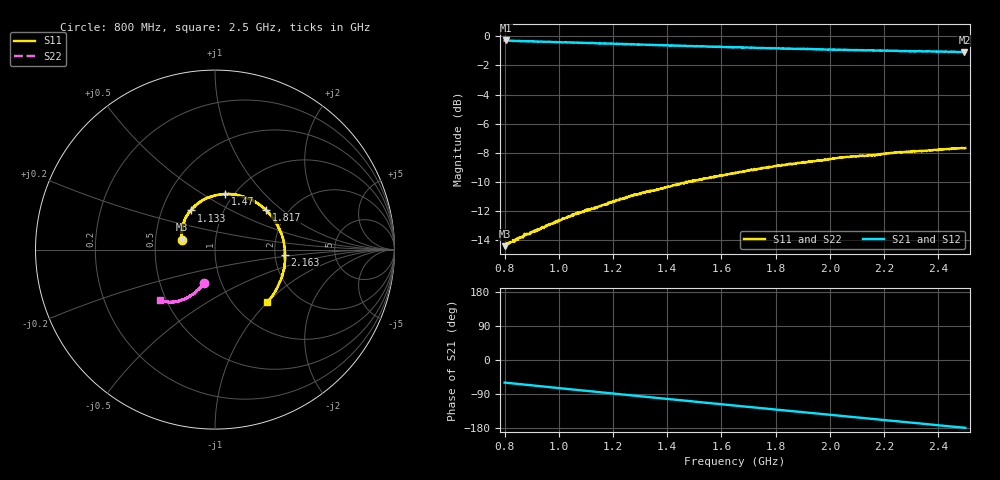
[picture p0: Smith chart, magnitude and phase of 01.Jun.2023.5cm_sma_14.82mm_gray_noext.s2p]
!Keysight Technologies N9950B: A.12.38
!Date: Thursday, 01 June 2023 12:08:57
!Timezone: (UTC-06:00) Central Time (US & Canada)
!Model: N9950B
!Serial: MY61131330
!GPS Latitude:
!GPS Longitude:
!GPS TimeStamp: 0001-01-01 00:00:00Z
!GPS Seconds Since Last Read: 0
!CHECKSUM:1986727721
!Correction: S11(ON U)S21(ON U)S12(ON U)S22(ON U)
!S2P File: Measurements:S11,S21,S12,S22:
# Hz S DB R 50
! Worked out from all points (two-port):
!   1001 points, 800 MHz to 2.5 GHz, reference 50 ohm
!   highest |S21| = -0.28 dB at 805.1 MHz (marker M1); lowest = -1.1 dB at 2.497 GHz (marker M2)
!   |S21| within 3 dB of the highest: start of sweep to end of sweep
!   lowest |S11| = -14.4 dB at 801.7 MHz (marker M3), VSWR 1.47, Z = 34.4 + j3.9 ohm
!   |S11| at or under -10 dB: start of sweep to 1.469 GHz; 1.47 GHz to 1.479 GHz (8.488 MHz wide, 0.576 % of centre); 1.486657 GHz to 1.490405 GHz (3.748 MHz wide, 0.252 % of centre)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
!   |S22| runs from -14.3 to -7.6 dB; largest |S21 - S12| = 0.0052
!   S11 on the Smith chart (normalised r, x): 800 MHz: 0.69, +0.08; 1.133 GHz: 0.70, +0.33; 1.47 GHz: 0.91, +0.63; 1.817 GHz: 1.55, +0.79; 2.163 GHz: 2.26, -0.17; 2.5 GHz: 1.41, -1.00
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8e8  -14.36 163.0  -0.30 -59.5  -0.29 -59.5  -14.27 -108.5
8.017e8  -14.43 163.3  -0.31 -59.7  -0.28 -59.8  -14.19 -108.5
8.051e8  -14.32 162.8  -0.28 -59.9  -0.30 -59.9  -14.17 -108.6
8.935e8  -13.51 150.9  -0.34 -66.5  -0.33 -66.3  -13.35 -110.1
9.581e8  -13.01 143.3  -0.36 -71.0  -0.38 -71.1  -12.86 -111.5
1.0839e9  -12.11 127.7  -0.43 -80.2  -0.43 -80.1  -11.94 -113.7
1.1332e9  -11.85 121.3  -0.47 -83.7  -0.46 -83.6  -11.60 -114.4
1.2505e9  -11.12 106.7  -0.53 -92.0  -0.54 -92.1  -10.94 -116.8
1.3678e9  -10.55 92.5  -0.59 -100.4  -0.60 -100.4  -10.40 -119.0
1.4698e9  -9.98 79.7  -0.65 -107.6  -0.65 -107.6  -9.92 -121.0
1.5633e9  -9.72 68.7  -0.72 -114.4  -0.70 -114.3  -9.55 -122.8
1.65e9  -9.38 57.8  -0.75 -120.2  -0.75 -120.3  -9.30 -124.5
1.7401e9  -9.10 47.0  -0.80 -126.6  -0.80 -126.5  -9.01 -125.6
1.8166e9  -8.89 37.9  -0.83 -131.8  -0.83 -131.7  -8.79 -126.9
1.9339e9  -8.58 23.3  -0.87 -140.0  -0.88 -140.1  -8.52 -128.8
2.041e9  -8.35 10.3  -0.91 -147.5  -0.94 -147.3  -8.25 -130.2
2.1634e9  -8.17 -4.6  -0.96 -155.9  -0.97 -156.0  -8.11 -132.4
2.2178e9  -8.06 -11.1  -0.99 -159.7  -0.99 -159.7  -8.00 -133.3
2.2824e9  -7.95 -19.1  -1.02 -164.1  -1.01 -164.1  -7.88 -133.8
2.3606e9  -7.86 -28.7  -1.02 -169.5  -1.04 -169.5  -7.84 -135.1
2.4966e9  -7.71 -44.8  -1.10 -178.7  -1.08 -178.7  -7.64 -137.0
2.5e9  -7.68 -45.3  -1.07 -178.9  -1.07 -179.0  -7.62 -137.1
